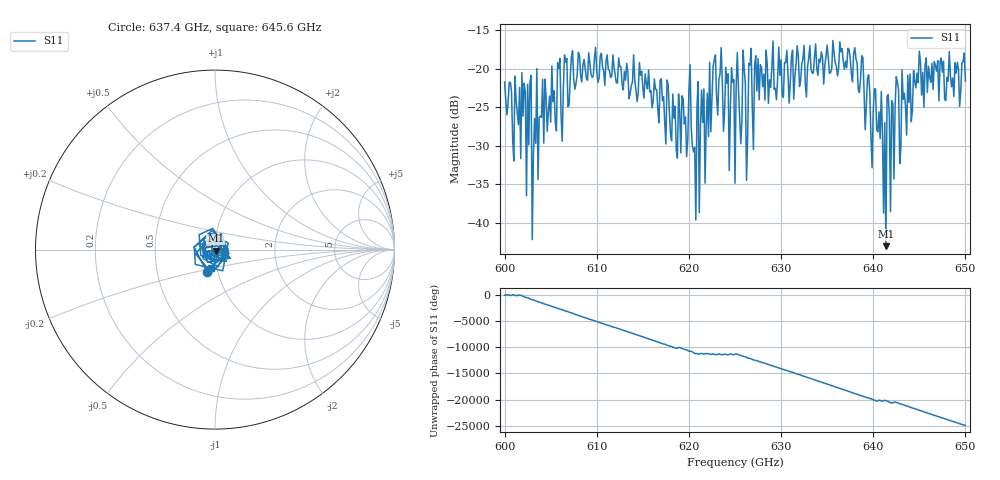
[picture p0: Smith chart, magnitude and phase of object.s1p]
!Created with skrf (http://scikit-rf.org).
# GHz S MA R 50.0
!freq magS11 angS11
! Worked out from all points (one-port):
!   401 points, 600 GHz to 650 GHz, reference 50 ohm
!   lowest |S11| = -43.1 dB at 641.4 GHz (marker M1), VSWR 1.01, Z = 50.5 - j0.543 ohm
!   |S11| at or under -10 dB: start of sweep to end of sweep
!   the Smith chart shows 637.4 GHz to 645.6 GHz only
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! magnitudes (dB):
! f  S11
! 600 GHz  -21.7
! 601.1 GHz  -20.9
! 602 GHz  -26.2
! 603.1 GHz  -31.2
! 604.2 GHz  -29.7
! 606.2 GHz  -29.4
! 608.2 GHz  -20.9
! 612.5 GHz  -19.7
! 618.8 GHz  -31.6
! 620.2 GHz  -27.6
! 620.5 GHz  -30.8
! 621.1 GHz  -38.7
! 621.9 GHz  -27.3
! 622.8 GHz  -18.8
! 625 GHz  -34.9
! 631.2 GHz  -17.6
! 637.5 GHz  -18.6
! 640.4 GHz  -27.9
! 641.1 GHz  -38.8
! 641.4 GHz  -43.1
! 641.5 GHz  -23.6
! 641.6 GHz  -23.4
! 641.8 GHz  -26.1
! 642 GHz  -24.1
! 642.4 GHz  -24.8
! 643.8 GHz  -20.8
! 644.9 GHz  -21.8
! 650 GHz  -21.6
